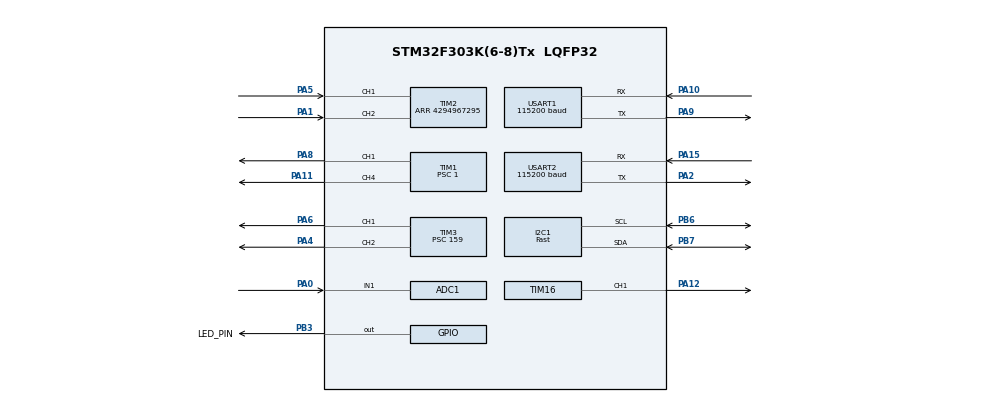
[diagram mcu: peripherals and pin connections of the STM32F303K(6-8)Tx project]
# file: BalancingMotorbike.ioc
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ADC1.Channel-0\#ChannelRegularConversion=ADC_CHANNEL_1
ADC1.DMAContinuousRequests=ENABLE
ADC1.ExternalTrigConv=ADC_EXTERNALTRIGCONV_T1_TRGO
ADC1.NbrOfConversionFlag=1
ADC1.Offset-0\#ChannelRegularConversion=0
ADC1.OffsetNumber-0\#ChannelRegularConversion=ADC_OFFSET_NONE
ADC1.Rank-0\#ChannelRegularConversion=1
ADC1.SamplingTime-0\#ChannelRegularConversion=ADC_SAMPLETIME_1CYCLE_5
ADC1.SubFamily=STM32F303x8
ADC1.master=1
I2C1.I2C_Fall_Time=300
I2C1.I2C_Rise_Time=300
I2C1.I2C_Speed_Mode=I2C_Fast
I2C1.Timing=0x00300208
Mcu.Family=STM32F3
Mcu.Name=STM32F303K(6-8)Tx
Mcu.Package=LQFP32
NVIC.PriorityGroup=NVIC_PRIORITYGROUP_4
NVIC.TIM1_UP_TIM16_IRQn=true\:0\:0\:false\:false\:true\:true\:true
NVIC.TIM2_IRQn=true\:0\:0\:false\:false\:true\:true\:true
NVIC.TIM6_DAC1_IRQn=true\:0\:0\:false\:false\:true\:true\:true
NVIC.TIM7_DAC2_IRQn=true\:0\:0\:false\:false\:true\:true\:true
NVIC.USART1_IRQn=true\:0\:0\:false\:false\:true\:true\:true
NVIC.USART2_IRQn=true\:0\:0\:false\:false\:true\:true\:true
PA0.Mode=IN1-Single-Ended
PA0.Signal=ADC1_IN1
PA1.GPIO_Speed=GPIO_SPEED_FREQ_HIGH
PA1.Signal=S_TIM2_CH2
PA10.Mode=Asynchronous
PA10.Signal=USART1_RX
PA11.GPIO_Speed=GPIO_SPEED_FREQ_HIGH
PA11.Signal=S_TIM1_CH4
PA12.GPIO_Speed=GPIO_SPEED_FREQ_HIGH
PA12.Signal=S_TIM16_CH1
PA15.Mode=Asynchronous
PA15.Signal=USART2_RX
PA2.Mode=Asynchronous
PA2.Signal=USART2_TX
PA4.GPIO_Speed=GPIO_SPEED_FREQ_HIGH
PA4.Signal=S_TIM3_CH2
PA5.GPIO_Speed=GPIO_SPEED_FREQ_HIGH
PA5.Signal=S_TIM2_CH1_ETR
PA6.GPIO_Speed=GPIO_SPEED_FREQ_HIGH
PA6.Signal=S_TIM3_CH1
PA8.GPIO_Speed=GPIO_SPEED_FREQ_HIGH
PA8.Signal=S_TIM1_CH1
PA9.Mode=Asynchronous
PA9.Signal=USART1_TX
PB3.GPIO_Label=LED_PIN
PB3.GPIO_Speed=GPIO_SPEED_FREQ_HIGH
PB3.Signal=GPIO_Output
PB6.Mode=I2C
PB6.Signal=I2C1_SCL
PB7.Mode=I2C
PB7.Signal=I2C1_SDA
ProjectManager.HeapSize=0x200
ProjectManager.StackSize=0x400
ProjectManager.TargetToolchain=STM32CubeIDE
RCC.AHBFreq_Value=32000000
RCC.APB1Freq_Value=32000000
RCC.APB1TimFreq_Value=32000000
RCC.APB2Freq_Value=32000000
RCC.APB2TimFreq_Value=32000000
RCC.CortexFreq_Value=32000000
RCC.HCLKFreq_Value=32000000
RCC.HSE_VALUE=8000000
RCC.HSI_VALUE=8000000
RCC.PLLMUL=RCC_PLL_MUL8
RCC.SYSCLKFreq_VALUE=32000000
RCC.SYSCLKSourceVirtual=RCC_SYSCLKSOURCE_PLLCLK
RCC.TIM1Selection=RCC_TIM1CLK_PLLCLK
SH.S_TIM16_CH1.0=TIM16_CH1,PWM Generation1 CH1
SH.S_TIM1_CH1.0=TIM1_CH1,PWM Generation1 CH1
SH.S_TIM1_CH4.0=TIM1_CH4,PWM Generation4 CH4
SH.S_TIM2_CH1_ETR.0=TIM2_CH1,Encoder_Interface
SH.S_TIM2_CH2.0=TIM2_CH2,Encoder_Interface
SH.S_TIM3_CH1.0=TIM3_CH1,PWM Generation1 CH1
SH.S_TIM3_CH2.0=TIM3_CH2,PWM Generation2 CH2
TIM1.AutoReloadPreload=TIM_AUTORELOAD_PRELOAD_ENABLE
TIM1.Channel-PWM\ Generation1\ CH1=TIM_CHANNEL_1
TIM1.Channel-PWM\ Generation4\ CH4=TIM_CHANNEL_4
TIM1.CounterMode=TIM_COUNTERMODE_CENTERALIGNED1
TIM1.OC1Preload_PWM=ENABLE
TIM1.OCFastMode_PWM-PWM\ Generation1\ CH1=TIM_OCFAST_ENABLE
TIM1.OCMode_PWM-PWM\ Generation1\ CH1=TIM_OCMODE_PWM1
TIM1.Period=699
TIM1.Prescaler=1
TIM1.Pulse-PWM\ Generation1\ CH1=500
TIM1.Pulse-PWM\ Generation4\ CH4=500
TIM1.TIM_MasterOutputTrigger=TIM_TRGO_UPDATE
TIM16.AutoReloadPreload=TIM_AUTORELOAD_PRELOAD_ENABLE
TIM16.Channel=TIM_CHANNEL_1
TIM16.Period=999
TIM16.Prescaler=639
TIM2.AutoReloadPreload=TIM_AUTORELOAD_PRELOAD_ENABLE
TIM2.EncoderMode=TIM_ENCODERMODE_TI12
TIM2.IC1Prescaler=TIM_ICPSC_DIV1
TIM2.Period=4294967295
TIM3.AutoReloadPreload=TIM_AUTORELOAD_PRELOAD_ENABLE
TIM3.Channel-PWM\ Generation1\ CH1=TIM_CHANNEL_1
TIM3.Channel-PWM\ Generation2\ CH2=TIM_CHANNEL_2
TIM3.Period=99
TIM3.Prescaler=159
TIM3.Pulse-PWM\ Generation2\ CH2=0
TIM6.AutoReloadPreload=TIM_AUTORELOAD_PRELOAD_ENABLE
TIM6.Period=399
TIM6.Prescaler=7
TIM6.TIM_MasterOutputTrigger=TIM_TRGO_RESET
TIM7.AutoReloadPreload=TIM_AUTORELOAD_PRELOAD_ENABLE
TIM7.Period=1999
TIM7.Prescaler=15
USART1.BaudRate=115200
USART1.VirtualMode-Asynchronous=VM_ASYNC
USART2.BaudRate=115200
USART2.VirtualMode-Asynchronous=VM_ASYNC
VP_TIM16_VS_ClockSourceINT.Mode=Enable_Timer
VP_TIM1_VS_ClockSourceINT.Mode=Internal
VP_TIM3_VS_ClockSourceINT.Mode=Internal
VP_TIM6_VS_ClockSourceINT.Mode=Enable_Timer
VP_TIM7_VS_ClockSourceINT.Mode=Enable_Timer
board=custom

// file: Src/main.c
/* USER CODE BEGIN Header */
/**
  ******************************************************************************
  * @file           : main.c
  * @brief          : Main program body
  ******************************************************************************
  * @attention
  *
  * <h2><center>&copy; Copyright (c) 2019 STMicroelectronics.
  * All rights reserved.</center></h2>
  *
  * This software component is licensed by ST under BSD 3-Clause license,
  * the "License"; You may not use this file except in compliance with the
  * License. You may obtain a copy of the License at:
  *                        opensource.org/licenses/BSD-3-Clause
  *
  ******************************************************************************
  */
/* USER CODE END Header */

#include "main.h"
#include "adc.h"
#include "i2c.h"
#include "tim.h"
#include "usart.h"
#include "gpio.h"

/* USER CODE BEGIN Includes */
#include <string.h>
#include <stdio.h>
#include "stm32f3xx_ll_usart.h"
#include "MPU6050.h"
#include "orientation.h"
#include "MovementController.h"
#include "CurrentController.h"
#include "EncoderHandler.h"
#include "CommHandler.h"
#include "BalanceController.h"
/* USER CODE END Includes */

void SystemClock_Config(void);

int main(void)
{

  /* MCU Configuration--------------------------------------------------------*/

  /* Reset of all peripherals, Initializes the Flash interface and the Systick. */

  LL_APB2_GRP1_EnableClock(LL_APB2_GRP1_PERIPH_SYSCFG);
  LL_APB1_GRP1_EnableClock(LL_APB1_GRP1_PERIPH_PWR);

  NVIC_SetPriorityGrouping(NVIC_PRIORITYGROUP_4);

  /* System interrupt init*/

  /* Configure the system clock */
  SystemClock_Config();

  /* Initialize all configured peripherals */
  MX_GPIO_Init();
  MX_USART2_UART_Init();
  MX_I2C1_Init();
  MX_USART1_UART_Init();
  MX_TIM6_Init();
  MX_ADC1_Init();
  MX_TIM3_Init();
  MX_TIM1_Init();
  MX_TIM7_Init();
  MX_TIM16_Init();
  MX_TIM2_Init();
  /* USER CODE BEGIN 2 */

  /*	INTIALIZATION SEQUENCE:
   *
   *		1. Enable both USART
   * 		2. init mpu
   * 		3. enable ADC and flywheel PWM timer (0 pulse)
   * 		4. turn on servo
   * 		5. wait for user to place bike into known orientation
   * 		6. calculate gyroscope and accelerometer steady state errors
   * 		7. calculate current sensor 0 amp value
   * 		8. wait for user to place bike into upright position
   * 		9. Enable rear motor timer
   * 		10. Enable Encoder
   * 		11. Enable control loop timers
   *
   *
   */

  //USARTs enabled
  LL_USART_EnableIT_RXNE(USART2);
  LL_USART_EnableIT_RXNE(USART1);

  //init mpu
  volatile MPU6050 mpu = { 0 };	//initialize to 0, rest is done in init
  orientation.mpu = &mpu;
  MPU6050init((MPU6050*) &mpu);	//init sensor

  //init ADC with DMA and TIMER
  initDMA_ADC((uint32_t) (CCParams.adcBuff), 2);
  initADC();
  initTIM_FLYWHEEL();

  //enable encoder, before servo
  initEncoder();

  //enable servo in center position
  initServo();

  waitUser();	//wait for signal on serial

  /* *** START CALIBRATION *** */

  //calc IMU roll offset/error
  MPU6050CalcErr((MPU6050*) &mpu);	//calculate error
  calcCurrentSensorOffset();		//calculate ADC offset

  /* *** CALIBRATION END *** */

  waitUser();	//wait for second signal

  //enable rear motor
  initRearMotor();

  //Enable current controller
  initCurrCont();

  //Enable balance controller
  initBalanceController();

  /* USER CODE END 2 */

  /* Infinite loop */
  /* USER CODE BEGIN WHILE */

  while (1)
  {
	  if(mpu.readFlag) {
		  //keep read frequency @1kHz
		  MPU6050readForRoll((MPU6050*) &mpu);
		  mpu.readFlag = 0;
	  }
	  //MPU6050readForRoll(&mpu);

    /* USER CODE END WHILE */

  }
}

void SystemClock_Config(void)
{
  LL_FLASH_SetLatency(LL_FLASH_LATENCY_1);

  if(LL_FLASH_GetLatency() != LL_FLASH_LATENCY_1)
  {
  Error_Handler();
  }
  LL_RCC_HSI_Enable();

   /* Wait till HSI is ready */
  while(LL_RCC_HSI_IsReady() != 1)
  {

  }
  LL_RCC_HSI_SetCalibTrimming(16);
  LL_RCC_PLL_ConfigDomain_SYS(LL_RCC_PLLSOURCE_HSI_DIV_2, LL_RCC_PLL_MUL_8);
  LL_RCC_PLL_Enable();

   /* Wait till PLL is ready */
  while(LL_RCC_PLL_IsReady() != 1)
  {

  }
  LL_RCC_SetAHBPrescaler(LL_RCC_SYSCLK_DIV_1);
  LL_RCC_SetAPB1Prescaler(LL_RCC_APB1_DIV_1);
  LL_RCC_SetAPB2Prescaler(LL_RCC_APB1_DIV_1);
  LL_RCC_SetSysClkSource(LL_RCC_SYS_CLKSOURCE_PLL);

   /* Wait till System clock is ready */
  while(LL_RCC_GetSysClkSource() != LL_RCC_SYS_CLKSOURCE_STATUS_PLL)
  {

  }
  LL_Init1msTick(32000000);
  LL_SYSTICK_SetClkSource(LL_SYSTICK_CLKSOURCE_HCLK);
  LL_SetSystemCoreClock(32000000);
  LL_RCC_SetUSARTClockSource(LL_RCC_USART1_CLKSOURCE_PCLK1);
  LL_RCC_SetI2CClockSource(LL_RCC_I2C1_CLKSOURCE_HSI);
  LL_RCC_SetTIMClockSource(LL_RCC_TIM1_CLKSOURCE_PLL);
  LL_RCC_SetADCClockSource(LL_RCC_ADC12_CLKSRC_PLL_DIV_1);
}

void Error_Handler(void)
{
}

/************************ (C) COPYRIGHT STMicroelectronics *****END OF FILE****/
